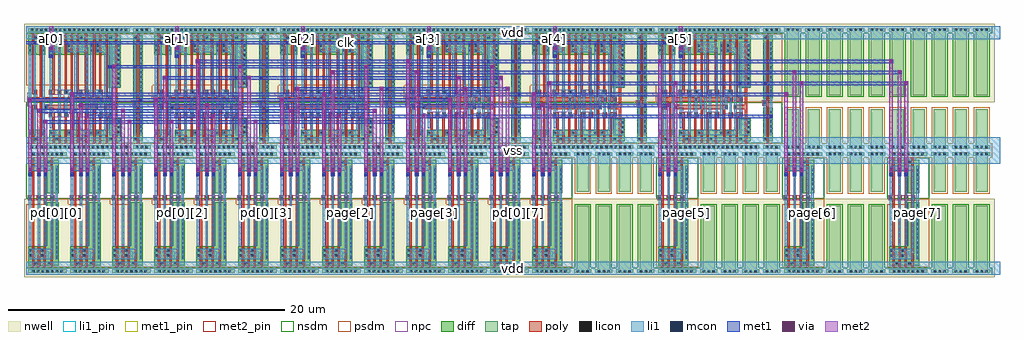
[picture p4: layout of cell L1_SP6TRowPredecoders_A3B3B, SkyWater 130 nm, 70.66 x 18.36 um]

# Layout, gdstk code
import gdstk
lib = gdstk.Library(unit=1e-6, precision=1e-09)
def R(c, l, rs):  # rectangles x0, y0, x1, y1
    for r in rs: c.add(gdstk.rectangle(r[:2], r[2:], *l))
def A(c, l, x, y, w, h, nx, ny, dx, dy):  # array of equal rectangles
    R(c, l, [(x+i*dx, y+j*dy, x+i*dx+w, y+j*dy+h) for i in range(nx) for j in range(ny)])
def P(c, l, *ps):  # polygons
    for p in ps: c.add(gdstk.Polygon(p, *l))
nwell = (64, 20)
diff = (65, 20)
tap = (65, 44)
poly = (66, 20)
licon = (66, 44)
li1_pin = (67, 16)
li1 = (67, 20)
mcon = (67, 44)
met1_pin = (68, 16)
met1 = (68, 20)
via = (68, 44)
met2_pin = (69, 16)
met2 = (69, 20)
nsdm = (93, 44)
psdm = (94, 20)
npc = (95, 20)

l1_dec_tie_diff_w2 = lib.new_cell('L1_Dec_tie_diff_w2')
R(l1_dec_tie_diff_w2, nwell, [(-0.18,3.5,1.7,9.18)])
P(l1_dec_tie_diff_w2, tap, [(0.135,0.135),(0.135,0.385),(0.315,0.385),(0.315,2.995),(1.205,2.995),(1.205,0.385),(1.385,0.385),(1.385,0.135)],
  [(0.315,4.005),(0.315,8.615),(0.135,8.615),(0.135,8.865),(1.385,8.865),(1.385,8.615),(1.205,8.615),(1.205,4.005)])
A(l1_dec_tie_diff_w2, licon, 0.335, 0.175, 0.17, 0.17, 3, 2, 0.34, 8.48)
R(l1_dec_tie_diff_w2, li1_pin, [(0,0,1.52,0.95), (0,8.05,1.52,9)])
R(l1_dec_tie_diff_w2, li1, [(0,0,1.52,0.95), (0,8.05,1.52,9)])
P(l1_dec_tie_diff_w2, nsdm, [(0.19,3.88),(0.19,8.49),(0,8.49),(0,9),(1.52,9),(1.52,8.49),(1.33,8.49),(1.33,3.88)])
P(l1_dec_tie_diff_w2, psdm, [(0,0),(0,0.51),(0.19,0.51),(0.19,3.12),(1.33,3.12),(1.33,0.51),(1.52,0.51),(1.52,0)])
l1_dec_tie_diff_w2.add(gdstk.Label('vss', (0.76,0.475), layer=67, texttype=16))
l1_dec_tie_diff_w2.add(gdstk.Label('vdd', (0.76,8.525), layer=67, texttype=16))

l1_dec_and3_x1 = lib.new_cell('L1_Dec_and3_x1')
R(l1_dec_and3_x1, nwell, [(-0.18,3.5,3.22,9.18)])
P(l1_dec_and3_x1, diff, [(1.485,3.74),(1.485,6.94),(0.135,6.94),(0.135,8.34),(2.32,8.34),(2.32,3.74)],
  [(0.135,0.66),(0.135,1.5),(1.485,1.5),(1.485,3.1),(2.32,3.1),(2.32,0.66)])
R(l1_dec_and3_x1, tap, [(0.135,0.135,2.905,0.385), (0.135,8.615,2.905,8.865)])
P(l1_dec_and3_x1, poly, [(1.26,0.53),(1.26,3.255),(1.24,3.255),(1.24,3.585),(1.26,3.585),(1.26,8.47),(1.41,8.47),(1.41,3.585),(1.51,3.585),(1.51,3.255),(1.41,3.255),(1.41,0.53)],
  [(0.4,0.53),(0.4,3.255),(0.125,3.255),(0.125,3.585),(0.4,3.585),(0.4,8.47),(0.55,8.47),(0.55,0.53)],
  [(0.83,0.53),(0.83,3.255),(0.76,3.255),(0.76,3.585),(0.83,3.585),(0.83,8.47),(0.98,8.47),(0.98,3.585),(1.03,3.585),(1.03,3.255),(0.98,3.255),(0.98,0.53)],
  [(1.75,0.53),(1.75,3.255),(1.72,3.255),(1.72,3.585),(1.75,3.585),(1.75,8.47),(1.9,8.47),(1.9,3.585),(1.99,3.585),(1.99,3.255),(1.9,3.255),(1.9,0.53)])
A(l1_dec_and3_x1, licon, 0.415, 0.175, 0.17, 0.17, 7, 2, 0.34, 8.48)
A(l1_dec_and3_x1, licon, 2.11, 1.325, 0.17, 0.17, 1, 5, 0, 0.34)
A(l1_dec_and3_x1, licon, 0.81, 3.335, 0.17, 0.17, 3, 1, 0.48, 0)
A(l1_dec_and3_x1, licon, 2.11, 3.875, 0.17, 0.17, 1, 12, 0, 0.34)
R(l1_dec_and3_x1, licon, [(1.525,0.78,1.695,0.95), (0.175,1.205,0.345,1.375), (0.175,3.335,0.345,3.505), (0.175,7.175,0.345,7.345), (1.035,7.175,1.205,7.345), (0.175,7.515,0.345,7.685), (1.035,7.515,1.205,7.685), (0.605,8.05,0.775,8.22), (1.525,8.05,1.695,8.22)])
R(l1_dec_and3_x1, li1_pin, [(0,0,3.04,0.95), (2.11,1.12,2.28,7.88), (0.175,1.625,0.345,6.925), (0.81,1.625,0.98,6.925), (1.29,1.625,1.46,6.925), (0,8.05,3.04,9)])
R(l1_dec_and3_x1, li1, [(0,0,3.04,0.95), (2.11,1.12,2.28,7.88), (0.175,1.625,0.345,6.925), (0.81,1.625,0.98,6.925), (1.29,1.625,1.46,6.925), (0,8.05,3.04,9)])
P(l1_dec_and3_x1, li1, [(0.175,1.12),(0.175,1.455),(1.77,1.455),(1.77,7.095),(0.175,7.095),(0.175,7.88),(1.855,7.88),(1.855,7.425),(1.94,7.425),(1.94,1.125),(1.855,1.125),(1.855,1.12)])
R(l1_dec_and3_x1, nsdm, [(0,0.535,3.04,3.5), (0,8.49,3.04,9)])
R(l1_dec_and3_x1, psdm, [(0,0,3.04,0.51)])
P(l1_dec_and3_x1, psdm, [(2.34,3.5),(2.34,3.615),(1.36,3.615),(1.36,3.905),(0,3.905),(0,8.465),(3.04,8.465),(3.04,3.5)])
R(l1_dec_and3_x1, npc, [(0.075,3.235,2.04,3.605)])
l1_dec_and3_x1.add(gdstk.Label('q', (2.195,4.5), layer=67, texttype=16))
l1_dec_and3_x1.add(gdstk.Label('i2', (1.375,4.275), layer=67, texttype=16))
l1_dec_and3_x1.add(gdstk.Label('i1', (0.895,4.275), layer=67, texttype=16))
l1_dec_and3_x1.add(gdstk.Label('i0', (0.26,4.275), layer=67, texttype=16))
l1_dec_and3_x1.add(gdstk.Label('vss', (1.52,0.475), layer=67, texttype=16))
l1_dec_and3_x1.add(gdstk.Label('vdd', (1.52,8.525), layer=67, texttype=16))

l1_dec_inv_x1 = lib.new_cell('L1_Dec_inv_x1')
R(l1_dec_inv_x1, nwell, [(-0.18,3.5,1.7,9.18)])
R(l1_dec_inv_x1, diff, [(0.135,0.66,0.815,3.1), (0.135,3.74,0.815,8.34)])
R(l1_dec_inv_x1, tap, [(0.135,0.135,1.385,0.385), (0.135,8.615,1.385,8.865)])
P(l1_dec_inv_x1, poly, [(0.4,0.53),(0.4,3.255),(0.125,3.255),(0.125,3.585),(0.4,3.585),(0.4,8.47),(0.55,8.47),(0.55,0.53)])
A(l1_dec_inv_x1, licon, 0.335, 0.175, 0.17, 0.17, 3, 2, 0.34, 8.48)
A(l1_dec_inv_x1, licon, 0.605, 1.325, 0.17, 0.17, 1, 5, 0, 0.34)
A(l1_dec_inv_x1, licon, 0.605, 3.875, 0.17, 0.17, 1, 12, 0, 0.34)
R(l1_dec_inv_x1, licon, [(0.175,0.78,0.345,0.95), (0.175,3.335,0.345,3.505), (0.175,8.05,0.345,8.22)])
R(l1_dec_inv_x1, li1_pin, [(0,0,1.52,0.95), (0.175,1.12,0.345,7.88), (0.605,1.12,0.775,7.88), (0,8.05,1.52,9)])
R(l1_dec_inv_x1, li1, [(0,0,1.52,0.95), (0.175,1.12,0.345,7.88), (0.605,1.12,0.775,7.88), (0,8.05,1.52,9)])
R(l1_dec_inv_x1, nsdm, [(0,0.535,1.52,3.5), (0,8.49,1.52,9)])
R(l1_dec_inv_x1, psdm, [(0,0,1.52,0.51)])
P(l1_dec_inv_x1, psdm, [(0.745,3.5),(0.745,3.615),(0,3.615),(0,8.465),(1.52,8.465),(1.52,3.5)])
R(l1_dec_inv_x1, npc, [(0.075,3.235,0.445,3.605)])
l1_dec_inv_x1.add(gdstk.Label('i', (0.26,4.5), layer=67, texttype=16))
l1_dec_inv_x1.add(gdstk.Label('nq', (0.69,4.5), layer=67, texttype=16))
l1_dec_inv_x1.add(gdstk.Label('vdd', (0.76,8.525), layer=67, texttype=16))
l1_dec_inv_x1.add(gdstk.Label('vss', (0.76,0.475), layer=67, texttype=16))

l1_dec_dff_x1 = lib.new_cell('L1_Dec_dff_x1')
R(l1_dec_dff_x1, nwell, [(-0.18,3.5,7.78,9.18)])
R(l1_dec_dff_x1, diff, [(0.135,0.66,1.36,1.5), (0.135,6.94,1.36,8.34)])
P(l1_dec_dff_x1, diff, [(5.96,4.55),(5.96,6.94),(1.63,6.94),(1.63,8.34),(6.83,8.34),(6.83,4.55)],
  [(1.63,0.66),(1.63,1.5),(5.96,1.5),(5.96,2.29),(6.83,2.29),(6.83,0.66)])
R(l1_dec_dff_x1, tap, [(0.135,0.135,7.465,0.385), (0.135,8.615,7.465,8.865)])
P(l1_dec_dff_x1, poly, [(5.735,0.53),(5.735,2.775),(6.205,2.775),(6.205,2.445),(5.885,2.445),(5.885,0.53)],
  [(3.645,0.53),(3.645,2.775),(4.025,2.775),(4.025,2.445),(3.795,2.445),(3.795,0.53)],
  [(5.735,3.525),(5.735,8.47),(5.885,8.47),(5.885,3.855),(6.205,3.855),(6.205,3.525)],
  [(6.415,0.53),(6.415,2.985),(5.595,2.985),(5.595,3.315),(6.415,3.315),(6.415,8.47),(6.565,8.47),(6.565,0.53)],
  [(3.645,4.065),(3.645,8.47),(3.795,8.47),(3.795,4.395),(4.025,4.395),(4.025,4.065)],
  [(2.755,0.53),(2.755,2.445),(2.735,2.445),(2.735,2.775),(3.005,2.775),(3.005,2.445),(2.905,2.445),(2.905,0.53)],
  [(1.645,4.065),(1.645,4.395),(1.895,4.395),(1.895,8.47),(2.045,8.47),(2.045,4.065)],
  [(0.4,0.53),(0.4,3.315),(0.735,3.315),(0.735,2.985),(0.55,2.985),(0.55,0.53)],
  [(2.735,4.065),(2.735,4.395),(2.755,4.395),(2.755,8.47),(2.905,8.47),(2.905,4.395),(3.005,4.395),(3.005,4.065)],
  [(3.215,0.53),(3.215,2.985),(1.305,2.985),(1.305,3.315),(5.185,3.315),(5.185,2.985),(5,2.985),(5,0.53),(4.85,0.53),(4.85,2.985),(3.365,2.985),(3.365,0.53)],
  [(2.255,4.065),(2.255,4.395),(2.325,4.395),(2.325,8.47),(2.475,8.47),(2.475,4.395),(2.525,4.395),(2.525,4.065)],
  [(5.21,4.065),(5.21,4.395),(5.28,4.395),(5.28,8.47),(5.43,8.47),(5.43,4.395),(5.48,4.395),(5.48,4.065)],
  [(1.895,0.53),(1.895,2.445),(1.645,2.445),(1.645,2.775),(2.045,2.775),(2.045,0.53)],
  [(0.945,0.53),(0.945,3.525),(0.125,3.525),(0.125,3.855),(0.945,3.855),(0.945,8.47),(1.095,8.47),(1.095,3.855),(3.215,3.855),(3.215,8.47),(3.365,8.47),(3.365,3.855),(4.85,3.855),(4.85,8.47),(5,8.47),(5,3.855),(5.525,3.855),(5.525,3.525),(1.095,3.525),(1.095,0.53)],
  [(0.4,4.065),(0.4,8.47),(0.55,8.47),(0.55,4.395),(0.735,4.395),(0.735,4.065)],
  [(4.235,4.065),(4.235,8.47),(4.385,8.47),(4.385,4.395),(4.505,4.395),(4.505,4.065)],
  [(5.28,0.53),(5.28,2.445),(5.255,2.445),(5.255,2.775),(5.525,2.775),(5.525,2.445),(5.43,2.445),(5.43,0.53)],
  [(2.325,0.53),(2.325,2.445),(2.255,2.445),(2.255,2.775),(2.525,2.775),(2.525,2.445),(2.475,2.445),(2.475,0.53)],
  [(4.235,0.53),(4.235,2.775),(4.505,2.775),(4.505,2.445),(4.385,2.445),(4.385,0.53)])
A(l1_dec_dff_x1, licon, 0.315, 0.175, 0.17, 0.17, 21, 2, 0.34, 8.48)
A(l1_dec_dff_x1, licon, 6.62, 1.26, 0.17, 0.17, 1, 3, 0, 0.34)
A(l1_dec_dff_x1, licon, 6.62, 4.79, 0.17, 0.17, 1, 9, 0, 0.34)
R(l1_dec_dff_x1, licon, [(0.605,0.78,0.775,0.95), (2.1,0.78,2.27,0.95), (3.85,0.78,4.02,0.95), (6,0.78,6.17,0.95), (0.175,1.205,0.345,1.375), (1.15,1.205,1.32,1.375), (1.67,1.205,1.84,1.375), (2.96,1.205,3.13,1.375), (4.625,1.205,4.795,1.375), (5.055,1.205,5.225,1.375), (1.695,2.525,1.865,2.695), (2.305,2.525,2.475,2.695), (2.785,2.525,2.955,2.695), (3.805,2.525,3.975,2.695), (4.285,2.525,4.455,2.695), (5.305,2.525,5.475,2.695), (5.985,2.525,6.155,2.695), (0.515,3.065,0.685,3.235), (1.355,3.065,1.525,3.235), (3.125,3.065,3.295,3.235), (4.965,3.065,5.135,3.235), (5.645,3.065,5.815,3.235), (0.175,3.605,0.345,3.775), (2.785,3.605,2.955,3.775), (5.305,3.605,5.475,3.775), (5.985,3.605,6.155,3.775), (0.515,4.145,0.685,4.315), (1.695,4.145,1.865,4.315), (2.305,4.145,2.475,4.315), (2.785,4.145,2.955,4.315), (3.805,4.145,3.975,4.315), (4.285,4.145,4.455,4.315), (5.26,4.145,5.43,4.315), (0.175,7.175,0.345,7.345), (1.15,7.175,1.32,7.345), (1.67,7.175,1.84,7.345), (2.96,7.175,3.13,7.345), (4.625,7.175,4.795,7.345), (5.055,7.175,5.225,7.345), (0.175,7.515,0.345,7.685), (1.15,7.515,1.32,7.685), (1.67,7.515,1.84,7.685), (2.96,7.515,3.13,7.685), (4.625,7.515,4.795,7.685), (5.055,7.515,5.225,7.685), (0.605,8.05,0.775,8.22), (2.1,8.05,2.27,8.22), (3.85,8.05,4.02,8.22), (6,8.05,6.17,8.22)])
R(l1_dec_dff_x1, li1_pin, [(0,0,7.6,0.95), (0.515,1.12,0.685,7.88), (5.985,1.12,6.155,7.88), (1.695,1.625,1.865,6.925), (0,8.05,7.6,9)])
R(l1_dec_dff_x1, li1, [(0,0,7.6,0.95), (0.175,1.12,0.345,7.88), (0.515,1.12,0.685,7.88), (1.695,1.625,1.865,6.925), (2.785,2.445,2.955,3.855), (5.305,2.445,5.475,3.855), (0,8.05,7.6,9)])
P(l1_dec_dff_x1, li1, [(5.985,1.12),(5.985,7.88),(6.79,7.88),(6.79,4.565),(6.155,4.565),(6.155,2.275),(6.79,2.275),(6.79,1.12)],
  [(5.055,1.12),(5.055,1.455),(5.645,1.455),(5.645,7.095),(5.055,7.095),(5.055,7.88),(5.73,7.88),(5.73,7.425),(5.815,7.425),(5.815,1.125),(5.73,1.125),(5.73,1.12)],
  [(3.89,1.12),(3.89,1.125),(3.805,1.125),(3.805,4.395),(3.975,4.395),(3.975,1.455),(4.625,1.455),(4.625,7.88),(4.795,7.88),(4.795,1.12)],
  [(1.15,1.12),(1.15,7.88),(1.32,7.88),(1.32,3.315),(1.525,3.315),(1.525,2.985),(1.32,2.985),(1.32,1.12)],
  [(2.96,1.12),(2.96,1.455),(3.465,1.455),(3.465,7.095),(2.96,7.095),(2.96,7.88),(4.37,7.88),(4.37,7.425),(4.455,7.425),(4.455,2.445),(4.285,2.445),(4.285,7.095),(3.635,7.095),(3.635,1.125),(3.55,1.125),(3.55,1.12)],
  [(4.965,2.985),(4.965,4.395),(5.43,4.395),(5.43,4.065),(5.135,4.065),(5.135,2.985)],
  [(1.67,1.12),(1.67,1.455),(2.305,1.455),(2.305,7.095),(1.67,7.095),(1.67,7.88),(2.39,7.88),(2.39,7.425),(2.475,7.425),(2.475,1.125),(2.39,1.125),(2.39,1.12)],
  [(3.125,2.985),(3.125,4.065),(2.785,4.065),(2.785,4.395),(3.295,4.395),(3.295,2.985)])
R(l1_dec_dff_x1, nsdm, [(0,0.535,7.6,3.5), (0,8.49,7.6,9)])
R(l1_dec_dff_x1, psdm, [(0,0,7.6,0.51)])
P(l1_dec_dff_x1, psdm, [(6.555,3.5),(6.555,4.175),(5.83,4.175),(5.83,4.715),(0,4.715),(0,8.465),(7.6,8.465),(7.6,3.5)])
R(l1_dec_dff_x1, npc, [(3.705,2.425,4.555,2.795), (3.705,4.045,4.555,4.415)])
P(l1_dec_dff_x1, npc, [(5.205,2.425),(5.205,2.66),(4.86,2.66),(4.86,3.64),(5.205,3.64),(5.205,4.045),(5.16,4.045),(5.16,4.415),(5.53,4.415),(5.53,3.875),(5.575,3.875),(5.575,3.64),(5.885,3.64),(5.885,3.875),(6.255,3.875),(6.255,3.64),(6.26,3.64),(6.26,2.66),(6.255,2.66),(6.255,2.425),(5.885,2.425),(5.885,2.66),(5.575,2.66),(5.575,2.425)],
  [(1.595,2.425),(1.595,2.66),(1.25,2.66),(1.25,3.1),(1.255,3.1),(1.255,3.335),(1.625,3.335),(1.625,3.1),(1.97,3.1),(1.97,2.795),(2.68,2.795),(2.68,3.64),(2.685,3.64),(2.685,4.045),(1.595,4.045),(1.595,4.415),(3.055,4.415),(3.055,3.64),(3.4,3.64),(3.4,2.66),(3.055,2.66),(3.055,2.425)],
  [(0.415,2.965),(0.415,3.2),(0.07,3.2),(0.07,4.18),(0.415,4.18),(0.415,4.415),(0.785,4.415),(0.785,4.18),(0.79,4.18),(0.79,3.2),(0.785,3.2),(0.785,2.965)])
l1_dec_dff_x1.add(gdstk.Label('q', (6.07,4.5), layer=67, texttype=16))
l1_dec_dff_x1.add(gdstk.Label('i', (1.78,4.275), layer=67, texttype=16))
l1_dec_dff_x1.add(gdstk.Label('clk', (0.6,4.5), layer=67, texttype=16))
l1_dec_dff_x1.add(gdstk.Label('vss', (3.8,0.475), layer=67, texttype=16))
l1_dec_dff_x1.add(gdstk.Label('vdd', (3.8,8.525), layer=67, texttype=16))

l1_sp6trowpredecoders_a3 = lib.new_cell('L1_SP6TRowPredecoders_A3B3B')
A(l1_sp6trowpredecoders_a3, li1_pin, 2.11, 1.12, 0.17, 6.76, 13, 1, 3.04, 0)
R(l1_sp6trowpredecoders_a3, li1_pin, [(0,0,70.48,0.95), (47.71,1.12,47.88,7.88), (56.83,1.12,57,7.88), (64.43,1.12,64.6,7.88), (0,8.05,70.48,9.95), (0,17.05,70.48,18)])
A(l1_sp6trowpredecoders_a3, li1, 2.11, 1.12, 0.17, 6.76, 13, 1, 3.04, 0)
A(l1_sp6trowpredecoders_a3, li1, 1.695, 15.755, 0.17, 0.17, 6, 1, 9.12, 0)
A(l1_sp6trowpredecoders_a3, li1, 0.515, 16.71, 0.17, 0.17, 6, 1, 9.12, 0)
R(l1_sp6trowpredecoders_a3, li1, [(0,0,70.48,0.95), (47.71,1.12,47.88,7.88), (56.83,1.12,57,7.88), (64.43,1.12,64.6,7.88), (0.175,7.205,0.345,7.375), (0.81,7.205,0.98,7.375), (1.29,7.205,1.46,7.375), (3.215,7.205,3.385,7.375), (3.85,7.205,4.02,7.375), (4.33,7.205,4.5,7.375), (6.255,7.205,6.425,7.375), (6.89,7.205,7.06,7.375), (7.37,7.205,7.54,7.375), (9.295,7.205,9.465,7.375), (9.93,7.205,10.1,7.375), (10.41,7.205,10.58,7.375), (12.335,7.205,12.505,7.375), (12.97,7.205,13.14,7.375), (13.45,7.205,13.62,7.375), (15.375,7.205,15.545,7.375), (16.01,7.205,16.18,7.375), (16.49,7.205,16.66,7.375), (18.415,7.205,18.585,7.375), (19.05,7.205,19.22,7.375), (19.53,7.205,19.7,7.375), (21.455,7.205,21.625,7.375), (22.09,7.205,22.26,7.375), (22.57,7.205,22.74,7.375), (24.495,7.205,24.665,7.375), (25.13,7.205,25.3,7.375), (25.61,7.205,25.78,7.375), (27.535,7.205,27.705,7.375), (28.17,7.205,28.34,7.375), (28.65,7.205,28.82,7.375), (30.575,7.205,30.745,7.375), (31.21,7.205,31.38,7.375), (31.69,7.205,31.86,7.375), (33.615,7.205,33.785,7.375), (34.25,7.205,34.42,7.375), (34.73,7.205,34.9,7.375), (36.655,7.205,36.825,7.375), (37.29,7.205,37.46,7.375), (37.77,7.205,37.94,7.375), (45.775,7.205,45.945,7.375), (46.41,7.205,46.58,7.375), (46.89,7.205,47.06,7.375), (54.895,7.205,55.065,7.375), (55.53,7.205,55.7,7.375), (56.01,7.205,56.18,7.375), (62.495,7.205,62.665,7.375), (63.13,7.205,63.3,7.375), (63.61,7.205,63.78,7.375), (0,8.05,70.48,9.95), (26.445,10.985,26.615,11.155), (53.805,11.385,53.975,11.555), (17.325,11.785,17.495,11.955), (44.685,12.185,44.855,12.355), (8.205,12.585,8.375,12.755), (35.565,12.985,35.735,13.155), (24.225,13.385,24.395,13.555), (26.015,13.385,26.185,13.555), (51.585,13.785,51.755,13.955), (53.375,13.785,53.545,13.955), (15.105,14.185,15.275,14.355), (16.895,14.185,17.065,14.355), (42.465,14.585,42.635,14.755), (44.255,14.585,44.425,14.755), (5.985,14.985,6.155,15.155), (7.775,14.985,7.945,15.155), (33.345,15.385,33.515,15.555), (35.135,15.385,35.305,15.555), (0,17.05,70.48,18)])
A(l1_sp6trowpredecoders_a3, mcon, 1.695, 15.755, 0.17, 0.17, 6, 1, 9.12, 0)
A(l1_sp6trowpredecoders_a3, mcon, 0.515, 16.71, 0.17, 0.17, 6, 1, 9.12, 0)
R(l1_sp6trowpredecoders_a3, mcon, [(0.175,7.205,0.345,7.375), (0.81,7.205,0.98,7.375), (1.29,7.205,1.46,7.375), (3.215,7.205,3.385,7.375), (3.85,7.205,4.02,7.375), (4.33,7.205,4.5,7.375), (6.255,7.205,6.425,7.375), (6.89,7.205,7.06,7.375), (7.37,7.205,7.54,7.375), (9.295,7.205,9.465,7.375), (9.93,7.205,10.1,7.375), (10.41,7.205,10.58,7.375), (12.335,7.205,12.505,7.375), (12.97,7.205,13.14,7.375), (13.45,7.205,13.62,7.375), (15.375,7.205,15.545,7.375), (16.01,7.205,16.18,7.375), (16.49,7.205,16.66,7.375), (18.415,7.205,18.585,7.375), (19.05,7.205,19.22,7.375), (19.53,7.205,19.7,7.375), (21.455,7.205,21.625,7.375), (22.09,7.205,22.26,7.375), (22.57,7.205,22.74,7.375), (24.495,7.205,24.665,7.375), (25.13,7.205,25.3,7.375), (25.61,7.205,25.78,7.375), (27.535,7.205,27.705,7.375), (28.17,7.205,28.34,7.375), (28.65,7.205,28.82,7.375), (30.575,7.205,30.745,7.375), (31.21,7.205,31.38,7.375), (31.69,7.205,31.86,7.375), (33.615,7.205,33.785,7.375), (34.25,7.205,34.42,7.375), (34.73,7.205,34.9,7.375), (36.655,7.205,36.825,7.375), (37.29,7.205,37.46,7.375), (37.77,7.205,37.94,7.375), (45.775,7.205,45.945,7.375), (46.41,7.205,46.58,7.375), (46.89,7.205,47.06,7.375), (54.895,7.205,55.065,7.375), (55.53,7.205,55.7,7.375), (56.01,7.205,56.18,7.375), (62.495,7.205,62.665,7.375), (63.13,7.205,63.3,7.375), (63.61,7.205,63.78,7.375), (26.445,10.985,26.615,11.155), (53.805,11.385,53.975,11.555), (17.325,11.785,17.495,11.955), (44.685,12.185,44.855,12.355), (8.205,12.585,8.375,12.755), (35.565,12.985,35.735,13.155), (24.225,13.385,24.395,13.555), (26.015,13.385,26.185,13.555), (51.585,13.785,51.755,13.955), (53.375,13.785,53.545,13.955), (15.105,14.185,15.275,14.355), (16.895,14.185,17.065,14.355), (42.465,14.585,42.635,14.755), (44.255,14.585,44.425,14.755), (5.985,14.985,6.155,15.155), (7.775,14.985,7.945,15.155), (33.345,15.385,33.515,15.555), (35.135,15.385,35.305,15.555)])
R(l1_sp6trowpredecoders_a3, met1_pin, [(0,16.68,46.345,16.91)])
A(l1_sp6trowpredecoders_a3, met1, 1.62, 15.725, 0.32, 0.815, 6, 1, 9.12, 0)
R(l1_sp6trowpredecoders_a3, met1, [(0.13,7.145,0.39,7.755), (0.765,7.145,1.025,7.755), (1.245,7.145,1.505,7.755), (3.17,7.145,3.43,7.755), (3.805,7.145,4.065,7.755), (4.285,7.145,4.545,7.755), (6.21,7.145,6.47,7.755), (6.845,7.145,7.105,7.755), (7.325,7.145,7.585,7.755), (9.25,7.145,9.51,7.755), (9.885,7.145,10.145,7.755), (10.365,7.145,10.625,7.755), (12.29,7.145,12.55,7.755), (12.925,7.145,13.185,7.755), (13.405,7.145,13.665,7.755), (15.33,7.145,15.59,7.755), (15.965,7.145,16.225,7.755), (16.445,7.145,16.705,7.755), (18.37,7.145,18.63,7.755), (19.005,7.145,19.265,7.755), (19.485,7.145,19.745,7.755), (21.41,7.145,21.67,7.755), (22.045,7.145,22.305,7.755), (22.525,7.145,22.785,7.755), (24.45,7.145,24.71,7.755), (25.085,7.145,25.345,7.755), (25.565,7.145,25.825,7.755), (27.49,7.145,27.75,7.755), (28.125,7.145,28.385,7.755), (28.605,7.145,28.865,7.755), (30.53,7.145,30.79,7.755), (31.165,7.145,31.425,7.755), (31.645,7.145,31.905,7.755), (33.57,7.145,33.83,7.755), (34.205,7.145,34.465,7.755), (34.685,7.145,34.945,7.755), (36.61,7.145,36.87,7.755), (37.245,7.145,37.505,7.755), (37.725,7.145,37.985,7.755), (45.73,7.145,45.99,7.755), (46.365,7.145,46.625,7.755), (46.845,7.145,47.105,7.755), (54.85,7.145,55.11,7.755), (55.485,7.145,55.745,7.755), (55.965,7.145,56.225,7.755), (62.45,7.145,62.71,7.755), (63.085,7.145,63.345,7.755), (63.565,7.145,63.825,7.755), (0.735,11.725,25.375,11.985), (3.775,12.125,46.655,12.385), (0.1,12.525,30.82,12.785), (3.14,12.925,55.14,13.185), (19.455,13.325,34.975,13.585), (37.695,13.725,63.855,13.985), (9.855,14.125,34.495,14.385), (22.015,14.525,63.375,14.785), (12.26,15.325,62.74,15.585), (0,16.68,46.345,16.91)])
P(l1_sp6trowpredecoders_a3, met1, [(1.215,10.925),(1.215,11.185),(26.675,11.185),(26.675,10.955),(26.53,10.955),(26.53,10.925)],
  [(4.255,11.325),(4.255,11.585),(54.035,11.585),(54.035,11.355),(53.89,11.355),(53.89,11.325)],
  [(6.18,14.925),(6.18,14.955),(5.925,14.955),(5.925,15.185),(33.86,15.185),(33.86,14.925),(33.54,14.925),(33.54,14.955),(24.74,14.955),(24.74,14.925),(24.42,14.925),(24.42,14.955),(15.62,14.955),(15.62,14.925),(15.3,14.925),(15.3,14.955),(6.5,14.955),(6.5,14.925)])
A(l1_sp6trowpredecoders_a3, via, 4.34, 11.38, 0.15, 0.15, 3, 1, 9.12, 0)
A(l1_sp6trowpredecoders_a3, via, 0.185, 12.58, 0.15, 0.15, 3, 1, 9.12, 0)
A(l1_sp6trowpredecoders_a3, via, 19.54, 13.38, 0.15, 0.15, 3, 1, 6.08, 0)
A(l1_sp6trowpredecoders_a3, via, 37.78, 13.78, 0.15, 0.15, 3, 1, 9.12, 0)
A(l1_sp6trowpredecoders_a3, via, 6.265, 14.98, 0.15, 0.15, 4, 1, 9.12, 0)
A(l1_sp6trowpredecoders_a3, via, 1.705, 16.335, 0.15, 0.15, 6, 1, 9.12, 0)
R(l1_sp6trowpredecoders_a3, via, [(0.185,7.52,0.335,7.67), (0.82,7.52,0.97,7.67), (1.3,7.52,1.45,7.67), (3.225,7.52,3.375,7.67), (3.86,7.52,4.01,7.67), (4.34,7.52,4.49,7.67), (6.265,7.52,6.415,7.67), (6.9,7.52,7.05,7.67), (7.38,7.52,7.53,7.67), (9.305,7.52,9.455,7.67), (9.94,7.52,10.09,7.67), (10.42,7.52,10.57,7.67), (12.345,7.52,12.495,7.67), (12.98,7.52,13.13,7.67), (13.46,7.52,13.61,7.67), (15.385,7.52,15.535,7.67), (16.02,7.52,16.17,7.67), (16.5,7.52,16.65,7.67), (18.425,7.52,18.575,7.67), (19.06,7.52,19.21,7.67), (19.54,7.52,19.69,7.67), (21.465,7.52,21.615,7.67), (22.1,7.52,22.25,7.67), (22.58,7.52,22.73,7.67), (24.505,7.52,24.655,7.67), (25.14,7.52,25.29,7.67), (25.62,7.52,25.77,7.67), (27.545,7.52,27.695,7.67), (28.18,7.52,28.33,7.67), (28.66,7.52,28.81,7.67), (30.585,7.52,30.735,7.67), (31.22,7.52,31.37,7.67), (31.7,7.52,31.85,7.67), (33.625,7.52,33.775,7.67), (34.26,7.52,34.41,7.67), (34.74,7.52,34.89,7.67), (36.665,7.52,36.815,7.67), (37.3,7.52,37.45,7.67), (37.78,7.52,37.93,7.67), (45.785,7.52,45.935,7.67), (46.42,7.52,46.57,7.67), (46.9,7.52,47.05,7.67), (54.905,7.52,55.055,7.67), (55.54,7.52,55.69,7.67), (56.02,7.52,56.17,7.67), (62.505,7.52,62.655,7.67), (63.14,7.52,63.29,7.67), (63.62,7.52,63.77,7.67), (1.3,10.98,1.45,11.13), (7.38,10.98,7.53,11.13), (10.42,10.98,10.57,11.13), (16.5,10.98,16.65,11.13), (28.66,11.38,28.81,11.53), (0.82,11.78,0.97,11.93), (6.9,11.78,7.05,11.93), (19.06,11.78,19.21,11.93), (25.14,11.78,25.29,11.93), (3.86,12.18,4.01,12.33), (12.98,12.18,13.13,12.33), (37.3,12.18,37.45,12.33), (46.42,12.18,46.57,12.33), (30.585,12.58,30.735,12.73), (3.225,12.98,3.375,13.13), (21.465,12.98,21.615,13.13), (36.665,12.98,36.815,13.13), (54.905,12.98,55.055,13.13), (34.74,13.38,34.89,13.53), (63.62,13.78,63.77,13.93), (9.94,14.18,10.09,14.33), (16.02,14.18,16.17,14.33), (31.22,14.18,31.37,14.33), (34.26,14.18,34.41,14.33), (22.1,14.58,22.25,14.73), (28.18,14.58,28.33,14.73), (55.54,14.58,55.69,14.73), (63.14,14.58,63.29,14.73), (12.345,15.38,12.495,15.53), (27.545,15.38,27.695,15.53), (45.785,15.38,45.935,15.53), (62.505,15.38,62.655,15.53)])
A(l1_sp6trowpredecoders_a3, met2_pin, 1.64, 16.25, 0.28, 1.75, 6, 1, 9.12, 0)
A(l1_sp6trowpredecoders_a3, met2, 0.13, 7.435, 0.26, 5.38, 3, 1, 9.12, 0)
A(l1_sp6trowpredecoders_a3, met2, 4.285, 7.435, 0.26, 4.18, 3, 1, 9.12, 0)
A(l1_sp6trowpredecoders_a3, met2, 6.21, 7.435, 0.26, 7.78, 4, 1, 9.12, 0)
A(l1_sp6trowpredecoders_a3, met2, 19.485, 7.435, 0.26, 6.18, 3, 1, 6.08, 0)
A(l1_sp6trowpredecoders_a3, met2, 37.725, 7.435, 0.26, 6.58, 3, 1, 9.12, 0)
A(l1_sp6trowpredecoders_a3, met2, 1.64, 16.25, 0.28, 1.75, 6, 1, 9.12, 0)
R(l1_sp6trowpredecoders_a3, met2, [(0.765,7.435,1.025,12.015), (1.245,7.435,1.505,11.215), (3.17,7.435,3.43,13.215), (3.805,7.435,4.065,12.415), (6.845,7.435,7.105,12.015), (7.325,7.435,7.585,11.215), (9.885,7.435,10.145,14.415), (10.365,7.435,10.625,11.215), (12.29,7.435,12.55,15.615), (12.925,7.435,13.185,12.415), (15.965,7.435,16.225,14.415), (16.445,7.435,16.705,11.215), (19.005,7.435,19.265,12.015), (21.41,7.435,21.67,13.215), (22.045,7.435,22.305,14.815), (25.085,7.435,25.345,12.015), (27.49,7.435,27.75,15.615), (28.125,7.435,28.385,14.815), (28.605,7.435,28.865,11.615), (30.53,7.435,30.79,12.815), (31.165,7.435,31.425,14.415), (34.205,7.435,34.465,14.415), (34.685,7.435,34.945,13.615), (36.61,7.435,36.87,13.215), (37.245,7.435,37.505,12.415), (45.73,7.435,45.99,15.615), (46.365,7.435,46.625,12.415), (54.85,7.435,55.11,13.215), (55.485,7.435,55.745,14.815), (62.45,7.435,62.71,15.615), (63.085,7.435,63.345,14.815), (63.565,7.435,63.825,14.015)])
l1_sp6trowpredecoders_a3.add(gdstk.Reference(l1_dec_tie_diff_w2, (39.52,9), x_reflection=True))
l1_sp6trowpredecoders_a3.add(gdstk.Reference(l1_dec_tie_diff_w2, (41.04,9), x_reflection=True))
l1_sp6trowpredecoders_a3.add(gdstk.Reference(l1_dec_tie_diff_w2, (42.56,9), x_reflection=True))
l1_sp6trowpredecoders_a3.add(gdstk.Reference(l1_dec_tie_diff_w2, (44.08,9), x_reflection=True))
l1_sp6trowpredecoders_a3.add(gdstk.Reference(l1_dec_tie_diff_w2, (48.64,9), x_reflection=True))
l1_sp6trowpredecoders_a3.add(gdstk.Reference(l1_dec_tie_diff_w2, (50.16,9), x_reflection=True))
l1_sp6trowpredecoders_a3.add(gdstk.Reference(l1_dec_tie_diff_w2, (51.68,9), x_reflection=True))
l1_sp6trowpredecoders_a3.add(gdstk.Reference(l1_dec_tie_diff_w2, (53.2,9), x_reflection=True))
l1_sp6trowpredecoders_a3.add(gdstk.Reference(l1_dec_tie_diff_w2, (57.76,9), x_reflection=True))
l1_sp6trowpredecoders_a3.add(gdstk.Reference(l1_dec_tie_diff_w2, (59.28,9), x_reflection=True))
l1_sp6trowpredecoders_a3.add(gdstk.Reference(l1_dec_tie_diff_w2, (60.8,9), x_reflection=True))
l1_sp6trowpredecoders_a3.add(gdstk.Reference(l1_dec_tie_diff_w2, (65.36,9), x_reflection=True))
l1_sp6trowpredecoders_a3.add(gdstk.Reference(l1_dec_tie_diff_w2, (66.88,9), x_reflection=True))
l1_sp6trowpredecoders_a3.add(gdstk.Reference(l1_dec_tie_diff_w2, (68.4,9), x_reflection=True))
l1_sp6trowpredecoders_a3.add(gdstk.Reference(l1_dec_and3_x1, (0,9), x_reflection=True))
l1_sp6trowpredecoders_a3.add(gdstk.Reference(l1_dec_and3_x1, (3.04,9), x_reflection=True))
l1_sp6trowpredecoders_a3.add(gdstk.Reference(l1_dec_and3_x1, (6.08,9), x_reflection=True))
l1_sp6trowpredecoders_a3.add(gdstk.Reference(l1_dec_and3_x1, (9.12,9), x_reflection=True))
l1_sp6trowpredecoders_a3.add(gdstk.Reference(l1_dec_and3_x1, (12.16,9), x_reflection=True))
l1_sp6trowpredecoders_a3.add(gdstk.Reference(l1_dec_and3_x1, (15.2,9), x_reflection=True))
l1_sp6trowpredecoders_a3.add(gdstk.Reference(l1_dec_and3_x1, (18.24,9), x_reflection=True))
l1_sp6trowpredecoders_a3.add(gdstk.Reference(l1_dec_and3_x1, (21.28,9), x_reflection=True))
l1_sp6trowpredecoders_a3.add(gdstk.Reference(l1_dec_and3_x1, (24.32,9), x_reflection=True))
l1_sp6trowpredecoders_a3.add(gdstk.Reference(l1_dec_and3_x1, (27.36,9), x_reflection=True))
l1_sp6trowpredecoders_a3.add(gdstk.Reference(l1_dec_and3_x1, (30.4,9), x_reflection=True))
l1_sp6trowpredecoders_a3.add(gdstk.Reference(l1_dec_and3_x1, (33.44,9), x_reflection=True))
l1_sp6trowpredecoders_a3.add(gdstk.Reference(l1_dec_and3_x1, (36.48,9), x_reflection=True))
l1_sp6trowpredecoders_a3.add(gdstk.Reference(l1_dec_and3_x1, (45.6,9), x_reflection=True))
l1_sp6trowpredecoders_a3.add(gdstk.Reference(l1_dec_and3_x1, (54.72,9), x_reflection=True))
l1_sp6trowpredecoders_a3.add(gdstk.Reference(l1_dec_and3_x1, (62.32,9), x_reflection=True))
l1_sp6trowpredecoders_a3.add(gdstk.Reference(l1_dec_tie_diff_w2, (54.72,9)))
l1_sp6trowpredecoders_a3.add(gdstk.Reference(l1_dec_tie_diff_w2, (56.24,9)))
l1_sp6trowpredecoders_a3.add(gdstk.Reference(l1_dec_tie_diff_w2, (57.76,9)))
l1_sp6trowpredecoders_a3.add(gdstk.Reference(l1_dec_tie_diff_w2, (59.28,9)))
l1_sp6trowpredecoders_a3.add(gdstk.Reference(l1_dec_tie_diff_w2, (60.8,9)))
l1_sp6trowpredecoders_a3.add(gdstk.Reference(l1_dec_tie_diff_w2, (62.32,9)))
l1_sp6trowpredecoders_a3.add(gdstk.Reference(l1_dec_tie_diff_w2, (63.84,9)))
l1_sp6trowpredecoders_a3.add(gdstk.Reference(l1_dec_tie_diff_w2, (65.36,9)))
l1_sp6trowpredecoders_a3.add(gdstk.Reference(l1_dec_tie_diff_w2, (66.88,9)))
l1_sp6trowpredecoders_a3.add(gdstk.Reference(l1_dec_tie_diff_w2, (68.4,9)))
l1_sp6trowpredecoders_a3.add(gdstk.Reference(l1_dec_inv_x1, (7.6,9)))
l1_sp6trowpredecoders_a3.add(gdstk.Reference(l1_dec_inv_x1, (16.72,9)))
l1_sp6trowpredecoders_a3.add(gdstk.Reference(l1_dec_inv_x1, (25.84,9)))
l1_sp6trowpredecoders_a3.add(gdstk.Reference(l1_dec_inv_x1, (34.96,9)))
l1_sp6trowpredecoders_a3.add(gdstk.Reference(l1_dec_inv_x1, (44.08,9)))
l1_sp6trowpredecoders_a3.add(gdstk.Reference(l1_dec_inv_x1, (53.2,9)))
l1_sp6trowpredecoders_a3.add(gdstk.Reference(l1_dec_dff_x1, (0,9)))
l1_sp6trowpredecoders_a3.add(gdstk.Reference(l1_dec_dff_x1, (9.12,9)))
l1_sp6trowpredecoders_a3.add(gdstk.Reference(l1_dec_dff_x1, (18.24,9)))
l1_sp6trowpredecoders_a3.add(gdstk.Reference(l1_dec_dff_x1, (27.36,9)))
l1_sp6trowpredecoders_a3.add(gdstk.Reference(l1_dec_dff_x1, (36.48,9)))
l1_sp6trowpredecoders_a3.add(gdstk.Reference(l1_dec_dff_x1, (45.6,9)))
l1_sp6trowpredecoders_a3.add(gdstk.Label('clk', (23.173,16.795), layer=68, texttype=16))
l1_sp6trowpredecoders_a3.add(gdstk.Label('a[5]', (47.38,17.125), layer=69, texttype=16))
l1_sp6trowpredecoders_a3.add(gdstk.Label('a[4]', (38.26,17.125), layer=69, texttype=16))
l1_sp6trowpredecoders_a3.add(gdstk.Label('a[3]', (29.14,17.125), layer=69, texttype=16))
l1_sp6trowpredecoders_a3.add(gdstk.Label('a[2]', (20.02,17.125), layer=69, texttype=16))
l1_sp6trowpredecoders_a3.add(gdstk.Label('a[1]', (10.9,17.125), layer=69, texttype=16))
l1_sp6trowpredecoders_a3.add(gdstk.Label('a[0]', (1.78,17.125), layer=69, texttype=16))
l1_sp6trowpredecoders_a3.add(gdstk.Label('page[7]', (64.515,4.5), layer=67, texttype=16))
l1_sp6trowpredecoders_a3.add(gdstk.Label('page[6]', (56.915,4.5), layer=67, texttype=16))
l1_sp6trowpredecoders_a3.add(gdstk.Label('page[3]', (29.555,4.5), layer=67, texttype=16))
l1_sp6trowpredecoders_a3.add(gdstk.Label('vss', (35.24,9), layer=67, texttype=16))
l1_sp6trowpredecoders_a3.add(gdstk.Label('page[2]', (23.475,4.5), layer=67, texttype=16))
l1_sp6trowpredecoders_a3.add(gdstk.Label('pd[0][0]', (2.195,4.5), layer=67, texttype=16))
l1_sp6trowpredecoders_a3.add(gdstk.Label('vdd', (35.24,0.475), layer=67, texttype=16))
l1_sp6trowpredecoders_a3.add(gdstk.Label('vdd', (35.24,17.525), layer=67, texttype=16))
l1_sp6trowpredecoders_a3.add(gdstk.Label('pd[0][2]', (11.315,4.5), layer=67, texttype=16))
l1_sp6trowpredecoders_a3.add(gdstk.Label('page[5]', (47.795,4.5), layer=67, texttype=16))
l1_sp6trowpredecoders_a3.add(gdstk.Label('pd[0][7]', (35.635,4.5), layer=67, texttype=16))
l1_sp6trowpredecoders_a3.add(gdstk.Label('pd[0][3]', (17.395,4.5), layer=67, texttype=16))
l1_sp6trowpredecoders_a3.add(gdstk.Label('page[4]', (38.675,4.5), layer=67, texttype=16))
l1_sp6trowpredecoders_a3.add(gdstk.Label('pd[0][5]', (26.515,4.5), layer=67, texttype=16))
l1_sp6trowpredecoders_a3.add(gdstk.Label('pd[0][6]', (32.595,4.5), layer=67, texttype=16))
l1_sp6trowpredecoders_a3.add(gdstk.Label('pd[0][1]', (8.275,4.5), layer=67, texttype=16))
l1_sp6trowpredecoders_a3.add(gdstk.Label('page[0]', (5.235,4.5), layer=67, texttype=16))
l1_sp6trowpredecoders_a3.add(gdstk.Label('pd[0][4]', (20.435,4.5), layer=67, texttype=16))
l1_sp6trowpredecoders_a3.add(gdstk.Label('page[1]', (14.355,4.5), layer=67, texttype=16))

lib.write_gds('L1_SP6TRowPredecoders_A3B3B.gds')
